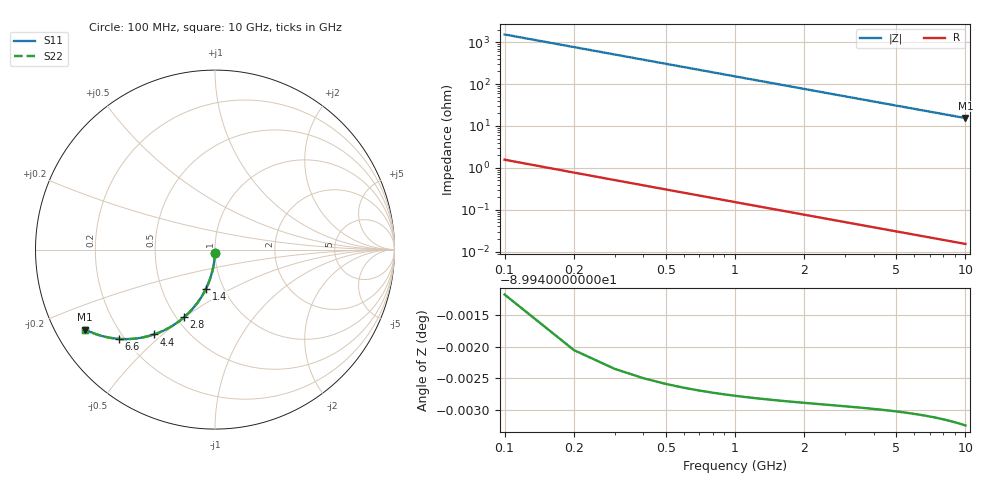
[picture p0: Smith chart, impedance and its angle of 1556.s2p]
# Hz S RI R 50.00
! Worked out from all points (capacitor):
!   100 points, 100 MHz to 10 GHz, reference 50 ohm
!   read as one part in shunt: C = 1.04 pF near 100 MHz
!   lowest |Z| = 15.5 ohm at 10 GHz (marker M1)
!   S11 on the Smith chart (normalised r, x): 100 MHz: 1.00, -0.03; 1.4 GHz: 0.83, -0.38; 2.8 GHz: 0.55, -0.50; 4.4 GHz: 0.33, -0.47; 6.6 GHz: 0.18, -0.38; 10 GHz: 0.09, -0.28
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1e8  -0.00028 -0.0163  0.9997 -0.0164  0.9997 -0.0164  -0.00028 -0.0163
2e8  -0.0011 -0.0327  0.9989 -0.0327  0.9989 -0.0327  -0.0011 -0.0327
3e8  -0.00245 -0.0489  0.9975 -0.049  0.9975 -0.049  -0.00245 -0.0489
4e8  -0.00432 -0.0651  0.9957 -0.0652  0.9957 -0.0652  -0.00432 -0.0651
5e8  -0.00672 -0.0812  0.9933 -0.0813  0.9933 -0.0813  -0.00672 -0.0812
6e8  -0.00963 -0.0971  0.9904 -0.0973  0.9904 -0.0973  -0.00963 -0.0971
7e8  -0.013 -0.1129  0.9869 -0.1131  0.9869 -0.1131  -0.013 -0.1129
9e8  -0.0213 -0.1439  0.9787 -0.1441  0.9787 -0.1441  -0.0213 -0.1439
1.1e9  -0.0315 -0.174  0.9685 -0.1743  0.9685 -0.1743  -0.0315 -0.174
1.4e9  -0.0499 -0.2172  0.95 -0.2175  0.95 -0.2175  -0.0499 -0.2172
1.8e9  -0.0798 -0.2703  0.9202 -0.2708  0.9202 -0.2708  -0.0798 -0.2703
2.3e9  -0.1239 -0.3286  0.8761 -0.3292  0.8761 -0.3292  -0.1239 -0.3286
2.8e9  -0.173 -0.3774  0.827 -0.3781  0.827 -0.3781  -0.173 -0.3774
3.4e9  -0.2354 -0.4233  0.7646 -0.4242  0.7646 -0.4242  -0.2354 -0.4233
4.4e9  -0.3395 -0.4725  0.6605 -0.4736  0.6605 -0.4736  -0.3395 -0.4725
5.1e9  -0.408 -0.4903  0.592 -0.4916  0.592 -0.4916  -0.408 -0.4903
5.8e9  -0.4708 -0.4979  0.5291 -0.4994  0.5291 -0.4994  -0.4708 -0.4979
6.6e9  -0.5349 -0.4974  0.4651 -0.4992  0.4651 -0.4992  -0.5349 -0.4974
6.7e9  -0.5423 -0.4968  0.4577 -0.4986  0.4577 -0.4986  -0.5423 -0.4968
7.5e9  -0.5971 -0.489  0.4029 -0.491  0.4029 -0.491  -0.5971 -0.489
8.4e9  -0.6498 -0.4754  0.3502 -0.4777  0.3502 -0.4777  -0.6498 -0.4754
1e10  -0.724 -0.4452  0.276 -0.4479  0.276 -0.4479  -0.724 -0.4452
